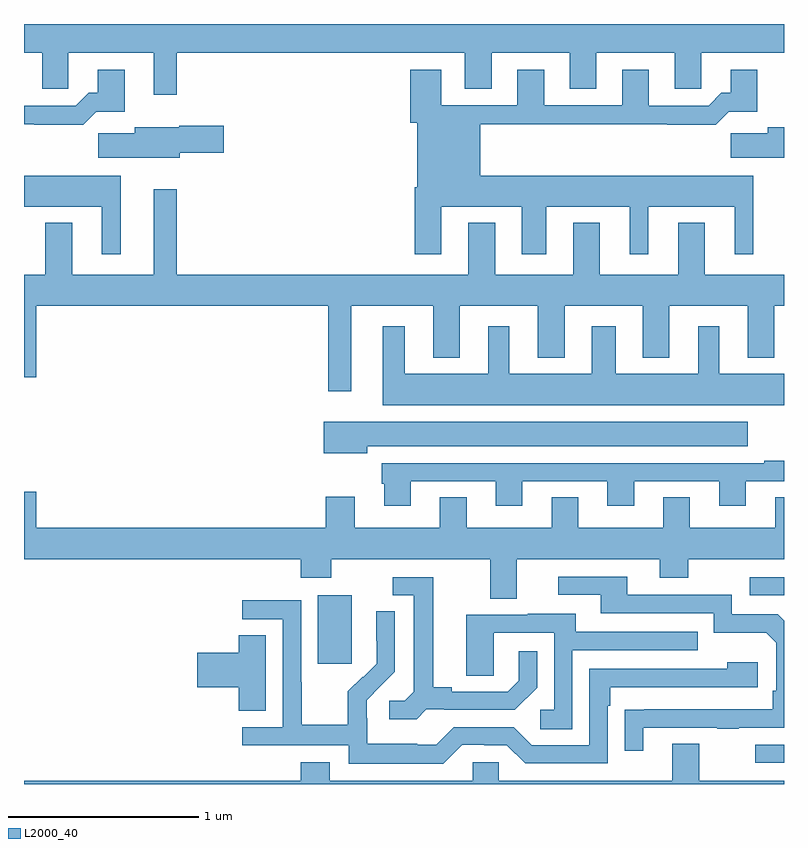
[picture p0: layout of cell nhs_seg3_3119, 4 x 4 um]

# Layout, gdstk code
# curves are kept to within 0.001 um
import gdstk
lib = gdstk.Library(unit=1e-6, precision=1e-09)
def R(c, l, rs):  # rectangles x0, y0, x1, y1
    for r in rs: c.add(gdstk.rectangle(r[:2], r[2:], *l))
def P(c, l, *ps):  # polygons
    for p in ps: c.add(gdstk.Polygon(p, *l))
L2000_40 = (2000, 40)

nhs_seg3_3119 = lib.new_cell('nhs_seg3_3119')
R(nhs_seg3_3119, L2000_40, [(276.849,698.511,277,698.607), (274.547,699.033,274.726,699.394), (276.819,699.393,277,699.489)])
P(nhs_seg3_3119, L2000_40, [(273.805,702.248),(275.321,702.248),(275.321,702.058),(275.461,702.058),(275.461,702.248),(275.873,702.248),(275.873,702.058),(276.013,702.058),(276.013,702.248),(276.425,702.248),(276.425,702.058),(276.564,702.058),(276.564,702.248),(277,702.248),(277,702.4),(273,702.4),(273,702.248),(273.095,702.248),(273.095,702.058),(273.234,702.058),(273.234,702.248),(273.683,702.248),(273.683,702.027),(273.805,702.027)],
  [(275.197,701.438),(275.621,701.438),(275.621,701.187),(275.749,701.187),(275.749,701.438),(276.188,701.438),(276.188,701.187),(276.286,701.187),(276.286,701.438),(276.74,701.438),(276.74,701.187),(276.838,701.187),(276.838,701.602),(275.401,701.602),(275.401,701.872),(276.385,701.872),(276.385,701.87),(276.641,701.87),(276.71,701.939),(276.859,701.939),(276.859,702.16),(276.719,702.16),(276.719,702.037),(276.67,702.037),(276.603,701.97),(276.289,701.97),(276.289,702.16),(276.149,702.16),(276.149,701.973),(275.737,701.973),(275.737,702.16),(275.597,702.16),(275.597,701.973),(275.197,701.973),(275.197,702.16),(275.033,702.16),(275.033,701.88),(275.069,701.88),(275.069,701.542),(275.057,701.542),(275.057,701.187),(275.197,701.187)],
  [(273.38,701.939),(273.529,701.939),(273.529,702.16),(273.389,702.16),(273.389,702.037),(273.34,702.037),(273.273,701.97),(273,701.97),(273,701.872),(273.055,701.872),(273.055,701.87),(273.311,701.87)],
  [(273.82,701.723),(274.051,701.723),(274.051,701.865),(273.816,701.865),(273.816,701.857),(273.584,701.857),(273.584,701.825),(273.39,701.825),(273.39,701.696),(273.82,701.696)],
  [(277,701.857),(276.914,701.857),(276.914,701.825),(276.72,701.825),(276.72,701.696),(277,701.696)],
  [(273.508,701.602),(273,701.602),(273,701.438),(273.41,701.438),(273.41,701.187),(273.508,701.187)],
  [(274.723,700.916),(275.153,700.916),(275.153,700.643),(275.293,700.643),(275.293,700.916),(275.705,700.916),(275.705,700.643),(275.845,700.643),(275.845,700.916),(276.257,700.916),(276.257,700.643),(276.397,700.643),(276.397,700.916),(276.809,700.916),(276.809,700.643),(276.949,700.643),(276.949,700.916),(277,700.916),(277,701.08),(276.583,701.08),(276.583,701.353),(276.443,701.353),(276.443,701.08),(276.031,701.08),(276.031,701.353),(275.891,701.353),(275.891,701.08),(275.479,701.08),(275.479,701.353),(275.339,701.353),(275.339,701.08),(273.805,701.08),(273.805,701.53),(273.683,701.53),(273.683,701.08),(273.253,701.08),(273.253,701.353),(273.113,701.353),(273.113,701.08),(273,701.08),(273,700.542),(273.064,700.542),(273.064,700.916),(274.602,700.916),(274.602,700.467),(274.723,700.467)],
  [(277,700.558),(276.658,700.558),(276.658,700.81),(276.548,700.81),(276.548,700.558),(276.115,700.558),(276.115,700.81),(275.987,700.81),(275.987,700.558),(275.554,700.558),(275.554,700.81),(275.444,700.81),(275.444,700.558),(275.005,700.558),(275.005,700.81),(274.889,700.81),(274.889,700.394),(277,700.394)],
  [(274.807,700.178),(276.808,700.178),(276.808,700.306),(274.578,700.306),(274.578,700.142),(274.807,700.142)],
  [(275.035,699.993),(275.483,699.993),(275.483,699.864),(275.623,699.864),(275.623,699.993),(276.071,699.993),(276.071,699.864),(276.211,699.864),(276.211,699.993),(276.659,699.993),(276.659,699.864),(276.799,699.864),(276.799,699.993),(277,699.993),(277,700.102),(276.895,700.102),(276.895,700.089),(274.883,700.089),(274.883,699.981),(274.895,699.981),(274.895,699.864),(275.035,699.864)],
  [(273,699.937),(273,699.584),(274.457,699.584),(274.457,699.485),(274.617,699.485),(274.617,699.584),(275.453,699.584),(275.453,699.376),(275.593,699.376),(275.593,699.584),(276.347,699.584),(276.347,699.485),(276.495,699.485),(276.495,699.584),(277,699.584),(277,699.908),(276.953,699.908),(276.953,699.748),(276.505,699.748),(276.505,699.908),(276.365,699.908),(276.365,699.748),(275.917,699.748),(275.917,699.908),(275.777,699.908),(275.777,699.748),(275.329,699.748),(275.329,699.908),(275.189,699.908),(275.189,699.748),(274.741,699.748),(274.741,699.913),(274.589,699.913),(274.589,699.748),(273.064,699.748),(273.064,699.937)],
  [(276.259,698.697),(276.649,698.697),(276.649,698.692),(276.761,698.692),(276.761,698.697),(277,698.697),(277,699.26),(276.966,699.294),(276.726,699.294),(276.726,699.396),(276.175,699.396),(276.175,699.492),(275.811,699.492),(275.811,699.396),(276.035,699.396),(276.035,699.3),(276.63,699.3),(276.63,699.197),(276.907,699.197),(276.96,699.144),(276.96,698.89),(276.94,698.89),(276.94,698.793),(276.163,698.792),(276.163,698.574),(276.259,698.574)],
  [(275.118,698.793),(275.212,698.793),(275.212,698.79),(275.584,698.79),(275.7,698.906),(275.7,699.1),(275.603,699.1),(275.603,698.943),(275.546,698.886),(275.251,698.886),(275.251,698.909),(275.155,698.909),(275.155,699.489),(274.941,699.489),(274.941,699.393),(275.051,699.393),(275.051,698.885),(275.004,698.838),(274.923,698.838),(274.923,698.741),(275.066,698.741)],
  [(275.307,698.607),(275.423,698.607),(275.423,698.604),(275.541,698.604),(275.637,698.508),(276.072,698.508),(276.072,698.813),(276.085,698.813),(276.085,698.91),(276.862,698.91),(276.862,699.04),(276.701,699.04),(276.701,699.006),(275.976,699.006),(275.976,698.604),(275.673,698.604),(275.577,698.7),(275.262,698.7),(275.169,698.607),(275.069,698.607),(275.069,698.611),(274.806,698.611),(274.806,698.745),(274.804,698.745),(274.804,698.842),(274.95,698.99),(274.95,699.308),(274.854,699.308),(274.854,699.154),(274.856,699.154),(274.856,699.032),(274.785,698.961),(274.782,698.964),(274.705,698.887),(274.705,698.713),(274.461,698.713),(274.461,698.936),(274.458,698.936),(274.458,699.366),(274.149,699.366),(274.149,699.267),(274.362,699.267),(274.362,698.7),(274.149,698.7),(274.149,698.604),(274.71,698.604),(274.71,698.507),(275.207,698.507)],
  [(275.886,699.105),(276.545,699.105),(276.545,699.201),(275.905,699.201),(275.905,699.295),(275.651,699.295),(275.651,699.291),(275.327,699.291),(275.327,698.971),(275.472,698.971),(275.472,699.195),(275.79,699.195),(275.79,698.79),(275.718,698.79),(275.718,698.689),(275.886,698.689)],
  [(274.273,699.182),(274.13,699.182),(274.13,699.092),(273.912,699.092),(273.912,698.909),(274.13,698.909),(274.13,698.785),(274.273,698.785)],
  [(277,698.416),(276.553,698.416),(276.553,698.611),(276.413,698.611),(276.413,698.416),(275.499,698.416),(275.499,698.514),(275.361,698.514),(275.361,698.416),(274.609,698.416),(274.609,698.515),(274.457,698.515),(274.457,698.416),(273,698.416),(273,698.4),(277,698.4)])

lib.write_gds('nhs_seg3_3119.gds')
